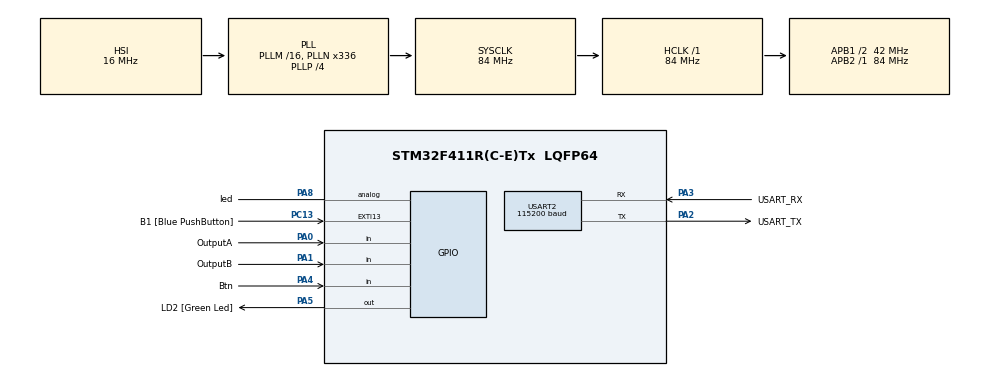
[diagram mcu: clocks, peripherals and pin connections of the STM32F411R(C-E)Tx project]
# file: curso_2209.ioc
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FREERTOS.Tasks01=task1,24,128,StartTask1,Default,NULL,Dynamic,NULL,NULL;task2,24,128,StartTask2,Default,NULL,Dynamic,NULL,NULL;task3,24,128,StartTask3,Default,NULL,Dynamic,NULL,NULL
Mcu.Family=STM32F4
Mcu.Name=STM32F411R(C-E)Tx
Mcu.Package=LQFP64
NVIC.PriorityGroup=NVIC_PRIORITYGROUP_0
NVIC.USART2_IRQn=true\:0\:0\:false\:false\:true\:false\:true\:true
PA0-WKUP.GPIO_Label=OutputA
PA0-WKUP.Signal=GPIO_Input
PA1.GPIO_Label=OutputB
PA1.Signal=GPIO_Input
PA13.GPIO_Label=TMS
PA13.Mode=Serial_Wire
PA13.Signal=SYS_JTMS-SWDIO
PA14.GPIO_Label=TCK
PA14.Mode=Serial_Wire
PA14.Signal=SYS_JTCK-SWCLK
PA2.GPIO_Label=USART_TX
PA2.Mode=Asynchronous
PA2.Signal=USART2_TX
PA3.GPIO_Label=USART_RX
PA3.Mode=Asynchronous
PA3.Signal=USART2_RX
PA4.GPIO_Label=Btn
PA4.Signal=GPIO_Input
PA5.GPIO_Label=LD2 [Green Led]
PA5.Signal=GPIO_Output
PA8.GPIO_Label=led
PA8.Signal=GPIO_Analog
PB3.GPIO_Label=SWO
PB3.Signal=SYS_JTDO-SWO
PC13-ANTI_TAMP.GPIO_Label=B1 [Blue PushButton]
PC13-ANTI_TAMP.GPIO_ModeDefaultEXTI=GPIO_MODE_IT_FALLING
PC13-ANTI_TAMP.Signal=GPXTI13
PC14-OSC32_IN.Mode=LSE-External-Oscillator
PC14-OSC32_IN.Signal=RCC_OSC32_IN
PC15-OSC32_OUT.Mode=LSE-External-Oscillator
PC15-OSC32_OUT.Signal=RCC_OSC32_OUT
PH0\ -\ OSC_IN.Mode=HSE-External-Clock-Source
PH0\ -\ OSC_IN.Signal=RCC_OSC_IN
PH1\ -\ OSC_OUT.Mode=HSE-External-Clock-Source
PH1\ -\ OSC_OUT.Signal=RCC_OSC_OUT
ProjectManager.HeapSize=0x200
ProjectManager.StackSize=0x400
ProjectManager.TargetToolchain=STM32CubeIDE
RCC.48MHZClocksFreq_Value=84000000
RCC.AHBFreq_Value=84000000
RCC.APB1CLKDivider=RCC_HCLK_DIV2
RCC.APB1Freq_Value=42000000
RCC.APB1TimFreq_Value=84000000
RCC.APB2Freq_Value=84000000
RCC.APB2TimFreq_Value=84000000
RCC.CortexFreq_Value=84000000
RCC.FLatency-AdvancedSettings=FLASH_LATENCY_2
RCC.HCLKFreq_Value=84000000
RCC.HSE_VALUE=8000000
RCC.HSI_VALUE=16000000
RCC.PLLN=336
RCC.PLLP=RCC_PLLP_DIV4
RCC.SYSCLKFreq_VALUE=84000000
RCC.SYSCLKSource=RCC_SYSCLKSOURCE_PLLCLK
RCC.VCOOutputFreq_Value=336000000
USART2.BaudRate=115200
USART2.VirtualMode=VM_ASYNC
VP_FREERTOS_VS_CMSIS_V2.Mode=CMSIS_V2
board=NUCLEO-F411RE

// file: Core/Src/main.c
/* USER CODE BEGIN Header */
/**
  ******************************************************************************
  * @file           : main.c
  * @brief          : Main program body
  ******************************************************************************
  * @attention
  *
  * <h2><center>&copy; Copyright (c) 2020 STMicroelectronics.
  * All rights reserved.</center></h2>
  *
  * This software component is licensed by ST under BSD 3-Clause license,
  * the "License"; You may not use this file except in compliance with the
  * License. You may obtain a copy of the License at:
  *                        opensource.org/licenses/BSD-3-Clause
  *
  ******************************************************************************
  */
/* USER CODE END Header */
#include "main.h"
#include "cmsis_os.h"

UART_HandleTypeDef huart2;

/* Definitions for task1 */
osThreadId_t task1Handle;
const osThreadAttr_t task1_attributes = {
  .name = "task1",
  .priority = (osPriority_t) osPriorityNormal,
  .stack_size = 128 * 4
};
/* Definitions for task2 */
osThreadId_t task2Handle;
const osThreadAttr_t task2_attributes = {
  .name = "task2",
  .priority = (osPriority_t) osPriorityLow,
  .stack_size = 128 * 4
};
/* Definitions for task3 */
osThreadId_t task3Handle;
const osThreadAttr_t task3_attributes = {
  .name = "task3",
  .priority = (osPriority_t) osPriorityLow,
  .stack_size = 128 * 4
};

void SystemClock_Config(void);
static void MX_GPIO_Init(void);
static void MX_USART2_UART_Init(void);
void StartTask1(void *argument);
void StartTask2(void *argument);
void StartTask3(void *argument);

/* USER CODE BEGIN 0 */

GPIO_PinState state_bt;
GPIO_PinState state_led;
GPIO_PinState state;

// rotary encoder
uint8_t actualState;
uint8_t lastState;
uint8_t counter = 0;
char s_counter[100];
const char s_btn[] = "Boton pulsado! Reseteando contador a 0\r\n";

// Mensaje de iniciación de la placa
void init(void) {
    const char ready[] = "Ready!\r\n";
    HAL_UART_Transmit(&huart2, (uint8_t*)ready, sizeof(ready)-1, HAL_MAX_DELAY);
}

/* USER CODE END 0 */

int main(void)
{

  /* MCU Configuration--------------------------------------------------------*/

  /* Reset of all peripherals, Initializes the Flash interface and the Systick. */
  HAL_Init();

  /* Configure the system clock */
  SystemClock_Config();

  /* Initialize all configured peripherals */
  MX_GPIO_Init();
  MX_USART2_UART_Init();
  /* USER CODE BEGIN 2 */

  init();

  __HAL_UART_ENABLE_IT(&huart2,UART_IT_TC);

  const char interrupt[] = "PULSACION!\r\n";

  // leemos posicion inicial del rotary encoder
  lastState = HAL_GPIO_ReadPin(GPIOA, OutputA_Pin);

  /* USER CODE END 2 */

  /* Init scheduler */
  osKernelInitialize();

  /* Create the thread(s) */
  /* creation of task1 */
  task1Handle = osThreadNew(StartTask1, NULL, &task1_attributes);

  /* creation of task2 */
  task2Handle = osThreadNew(StartTask2, NULL, &task2_attributes);

  /* creation of task3 */
  task3Handle = osThreadNew(StartTask3, NULL, &task3_attributes);

  /* Start scheduler */
  osKernelStart();

  /* We should never get here as control is now taken by the scheduler */
  /* Infinite loop */
  while (1)
  {

    /* USER CODE BEGIN 3 */

//	  Ejercicio 1

//	  HAL_GPIO_TogglePin(GPIOA, LD2_Pin);
//	  HAL_Delay(500);

//	  Ejercicio 2

//	  state_bt = HAL_GPIO_ReadPin(GPIOC, B1_Pin);
//	  HAL_GPIO_WritePin(GPIOA, LD2_Pin, !state_bt);

//	  Ejercicio 3

	  // Ejemplo de uso de UART sin interrupcion
//	  const char ready[] = "Ready!\r\n";
//	  HAL_UART_Transmit(&huart2, ready,
//						sizeof(ready)-1, 1);
//	  HAL_Delay(500);

//	  state_bt = HAL_GPIO_ReadPin(GPIOC, B1_Pin);
//	  if(!state_bt){
//		  HAL_UART_Transmit_IT(&huart2, (uint8_t*)interrupt, sizeof(interrupt)-1);
//		  HAL_Delay(500);
//	  }

	  // Ejercicio 4
//
//
//	  if(actualState != lastState){
//		  // Se ha movido el encoder
//		  if(HAL_GPIO_ReadPin(GPIOA, OutputB_Pin) != actualState){
//			  counter += 1;
//		  }else {
//			  counter -= 1;
//		  }

//		  snprintf(s_counter, 100, "Position -> %d\r\n", counter);
//		  HAL_UART_Transmit_IT(&huart2, (uint8_t*)s_counter, sizeof(s_counter)-1);
//	  }
//
//	  lastState = actualState;

	  // Reset del contador con el pulsador
//	  state_bt = HAL_GPIO_ReadPin(GPIOA, Btn_Pin);
//	  if(state_bt == GPIO_PIN_SET) {
//		  counter = 0;
//		  HAL_UART_Transmit_IT(&huart2, (uint8_t*)s_btn, sizeof(s_btn)-1);
//		  HAL_Delay(500);
//	  }

  }
  /* USER CODE END 3 */
}

void SystemClock_Config(void)
{
  RCC_OscInitTypeDef RCC_OscInitStruct = {0};
  RCC_ClkInitTypeDef RCC_ClkInitStruct = {0};

  /** Configure the main internal regulator output voltage
  */
  __HAL_RCC_PWR_CLK_ENABLE();
  __HAL_PWR_VOLTAGESCALING_CONFIG(PWR_REGULATOR_VOLTAGE_SCALE1);
  /** Initializes the RCC Oscillators according to the specified parameters
  * in the RCC_OscInitTypeDef structure.
  */
  RCC_OscInitStruct.OscillatorType = RCC_OSCILLATORTYPE_HSI;
  RCC_OscInitStruct.HSIState = RCC_HSI_ON;
  RCC_OscInitStruct.HSICalibrationValue = RCC_HSICALIBRATION_DEFAULT;
  RCC_OscInitStruct.PLL.PLLState = RCC_PLL_ON;
  RCC_OscInitStruct.PLL.PLLSource = RCC_PLLSOURCE_HSI;
  RCC_OscInitStruct.PLL.PLLM = 16;
  RCC_OscInitStruct.PLL.PLLN = 336;
  RCC_OscInitStruct.PLL.PLLP = RCC_PLLP_DIV4;
  RCC_OscInitStruct.PLL.PLLQ = 4;
  if (HAL_RCC_OscConfig(&RCC_OscInitStruct) != HAL_OK)
  {
    Error_Handler();
  }
  /** Initializes the CPU, AHB and APB buses clocks
  */
  RCC_ClkInitStruct.ClockType = RCC_CLOCKTYPE_HCLK|RCC_CLOCKTYPE_SYSCLK
                              |RCC_CLOCKTYPE_PCLK1|RCC_CLOCKTYPE_PCLK2;
  RCC_ClkInitStruct.SYSCLKSource = RCC_SYSCLKSOURCE_PLLCLK;
  RCC_ClkInitStruct.AHBCLKDivider = RCC_SYSCLK_DIV1;
  RCC_ClkInitStruct.APB1CLKDivider = RCC_HCLK_DIV2;
  RCC_ClkInitStruct.APB2CLKDivider = RCC_HCLK_DIV1;

  if (HAL_RCC_ClockConfig(&RCC_ClkInitStruct, FLASH_LATENCY_2) != HAL_OK)
  {
    Error_Handler();
  }
}

static void MX_USART2_UART_Init(void)
{

  huart2.Instance = USART2;
  huart2.Init.BaudRate = 115200;
  huart2.Init.WordLength = UART_WORDLENGTH_8B;
  huart2.Init.StopBits = UART_STOPBITS_1;
  huart2.Init.Parity = UART_PARITY_NONE;
  huart2.Init.Mode = UART_MODE_TX_RX;
  huart2.Init.HwFlowCtl = UART_HWCONTROL_NONE;
  huart2.Init.OverSampling = UART_OVERSAMPLING_16;
  if (HAL_UART_Init(&huart2) != HAL_OK)
  {
    Error_Handler();
  }

}

static void MX_GPIO_Init(void)
{
  GPIO_InitTypeDef GPIO_InitStruct = {0};

  /* GPIO Ports Clock Enable */
  __HAL_RCC_GPIOC_CLK_ENABLE();
  __HAL_RCC_GPIOH_CLK_ENABLE();
  __HAL_RCC_GPIOA_CLK_ENABLE();
  __HAL_RCC_GPIOB_CLK_ENABLE();

  /*Configure GPIO pin Output Level */
  HAL_GPIO_WritePin(LD2_GPIO_Port, LD2_Pin, GPIO_PIN_RESET);

  /*Configure GPIO pin : B1_Pin */
  GPIO_InitStruct.Pin = B1_Pin;
  GPIO_InitStruct.Mode = GPIO_MODE_IT_FALLING;
  GPIO_InitStruct.Pull = GPIO_NOPULL;
  HAL_GPIO_Init(B1_GPIO_Port, &GPIO_InitStruct);

  /*Configure GPIO pins : OutputA_Pin OutputB_Pin Btn_Pin */
  GPIO_InitStruct.Pin = OutputA_Pin|OutputB_Pin|Btn_Pin;
  GPIO_InitStruct.Mode = GPIO_MODE_INPUT;
  GPIO_InitStruct.Pull = GPIO_NOPULL;
  HAL_GPIO_Init(GPIOA, &GPIO_InitStruct);

  /*Configure GPIO pin : LD2_Pin */
  GPIO_InitStruct.Pin = LD2_Pin;
  GPIO_InitStruct.Mode = GPIO_MODE_OUTPUT_PP;
  GPIO_InitStruct.Pull = GPIO_NOPULL;
  GPIO_InitStruct.Speed = GPIO_SPEED_FREQ_LOW;
  HAL_GPIO_Init(LD2_GPIO_Port, &GPIO_InitStruct);

  /*Configure GPIO pin : led_Pin */
  GPIO_InitStruct.Pin = led_Pin;
  GPIO_InitStruct.Mode = GPIO_MODE_ANALOG;
  GPIO_InitStruct.Pull = GPIO_NOPULL;
  HAL_GPIO_Init(led_GPIO_Port, &GPIO_InitStruct);

}

/* USER CODE BEGIN 4 */

/*
 	 Funcion que se ejecuta cuando salta la interrupcion, gestionada por
 	 	 	 	 	 	 __HAL_UART_ENABLE_IT
*/
void HAL_UART_TxCpltCallback(UART_HandleTypeDef * huart){
	HAL_GPIO_TogglePin(GPIOA, LD2_Pin);
}

void HAL_UART_RxCpltCallback(UART_HandleTypeDef * huart){
//	state_bt = HAL_GPIO_ReadPin(GPIOC, B1_Pin);
//	if(state_bt != 1) {
//	}
//	  HAL_UART_Transmit(&huart2, tx_buff, 20, 2);
//	  HAL_UART_Receive_IT(&huart2, rx_buff, 20);
//
//	// Activamos interrupción de envio
//	__HAL_UART_ENABLE_IT(&huart2, UART_IT_TC);

}

/* USER CODE END 4 */

/* USER CODE BEGIN Header_StartTask1 */
/**
  * @brief  Lectua del sensor cada 100ms.
  */
/* USER CODE END Header_StartTask1 */
void StartTask1(void *argument)
{
  /* USER CODE BEGIN 5 */
  /* Infinite loop */
  for(;;)
  {
//	  actualState = HAL_GPIO_ReadPin(GPIOA, OutputA_Pin);
//	  if(actualState != lastState){
//		  // Se ha movido el encoder
//		  if(HAL_GPIO_ReadPin(GPIOA, OutputB_Pin) != actualState){
//			  counter += 1;
//		  }else {
//			  counter -= 1;
//		  }
//		  lastState = actualState;
//	  }
	  osDelay(1);
  }
  /* USER CODE END 5 */
}

/* USER CODE BEGIN Header_StartTask2 */
/**
* @brief Formar cadena de envio y enviar por la uart
*/
/* USER CODE END Header_StartTask2 */
void StartTask2(void *argument)
{
  /* USER CODE BEGIN StartTask2 */
  /* Infinite loop */
  for(;;)
  {
//		snprintf(s_counter, 100, "Position -> %d\r\n", counter);
//		HAL_UART_Transmit(&huart2, (uint8_t*)s_counter, sizeof(s_counter)-1, 1);
//		osDelay(1);
	  HAL_GPIO_WritePin(GPIOA, LD2_Pin, GPIO_PIN_SET);
	  osDelay(250);
	  HAL_GPIO_WritePin(GPIOA, LD2_Pin, GPIO_PIN_RESET);
	  osDelay(250);
  }

  /* USER CODE END StartTask2 */
}

/* USER CODE BEGIN Header_StartTask3 */
/**
* @brief Controlamos el flujo de entrada
*/
/* USER CODE END Header_StartTask3 */
void StartTask3(void *argument)
{
  /* USER CODE BEGIN StartTask3 */
  /* Infinite loop */
  for(;;)
  {
//	  state = HAL_GPIO_ReadPin(GPIOC, B1_Pin);
//	  osDelay(1);
	  HAL_GPIO_WritePin(GPIOA, LD2_Pin, GPIO_PIN_SET);
	  osDelay(1000);
	  HAL_GPIO_WritePin(GPIOA, LD2_Pin, GPIO_PIN_RESET);
	  osDelay(1000);
  }
  /* USER CODE END StartTask3 */
}

void Error_Handler(void)
{
}

/************************ (C) COPYRIGHT STMicroelectronics *****END OF FILE****/
